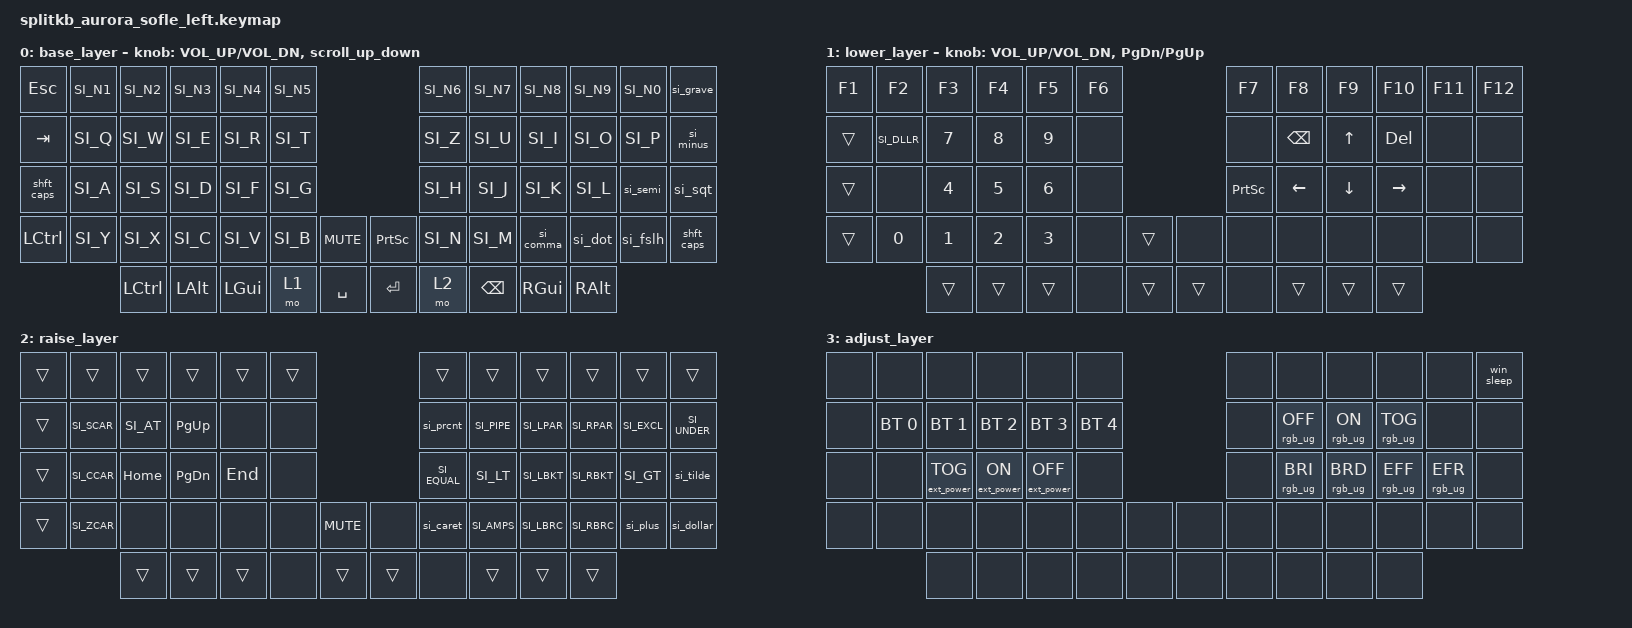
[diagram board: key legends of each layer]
/*
 * Copyright (c) 2023 The ZMK Contributors
 *
 * SPDX-License-Identifier: MIT
 */

#include <behaviors.dtsi>
#include <dt-bindings/zmk/bt.h>
#include <dt-bindings/zmk/ext_power.h>
#include <dt-bindings/zmk/keys.h>
#include <dt-bindings/zmk/keys.h>
#include <dt-bindings/zmk/rgb.h>

#include "helper.h"
#include "helpers.dtsi"
#include "behaviors_mod_morph.dtsi"
#include "keys_si.h"

// bodge wire P1.06 -> P0.08

&kscan {
    col-gpios
        = <&gpio0 8 GPIO_ACTIVE_HIGH>
        , <&pro_micro 8 GPIO_ACTIVE_HIGH>
        , <&pro_micro 7 GPIO_ACTIVE_HIGH>
        , <&pro_micro 6 GPIO_ACTIVE_HIGH>
        , <&pro_micro 5 GPIO_ACTIVE_HIGH>
        , <&pro_micro 4 GPIO_ACTIVE_HIGH>
        ;
};

// RGB

&led_strip {
    chain-length = <35>; // per-key + underglow LEDs
};

// Enable nice!view

&nice_view_spi {
    cs-gpios = <&gpio1 1 GPIO_ACTIVE_HIGH>; // account for using a bodge wire from P1.01 for CS on nice!view
};

// Encoders

&left_encoder {
    compatible = "alps,ec11";
    steps = <36>;
};

&right_encoder {
    compatible = "alps,ec11";
    steps = <36>;
};

&sensors {
    compatible = "zmk,keymap-sensors";
    sensors = <&left_encoder &right_encoder>;
    triggers-per-rotation = <36>;
};

// If needed, adjust the value of ZMK_MOUSE_DEFAULT_SCRL_VAL, must be done before including pointing.h
// ref: https://github.com/zmkfirmware/zmk/issues/72#issuecomment-2081690485
// and: https://github.com/zmkfirmware/zmk/pull/2027#issuecomment-2130938216
#define ZMK_MOUSE_DEFAULT_SCRL_VAL 50 // default is 10

// NOTE: Adding or removing mouse support requires updating the HID Descriptor.
// You will need to re-pair to your devices.
// https://zmk.dev/docs/features/bluetooth#refreshing-the-hid-descriptor
#include <dt-bindings/zmk/pointing.h>

/ {
    behaviors {
        // mouse scroll behavior
        // If needed, adjust the value of tap-ms
        // ref: https://github.com/zmkfirmware/zmk/pull/2477
        // ref: https://github.com/zmkfirmware/zmk/issues/72#issuecomment-2081690485
        // and: https://github.com/zmkfirmware/zmk/pull/2027#issuecomment-2130938216
        scroll_up_down: behavior_sensor_rotate_mouse_wheel_up_down {
            compatible = "zmk,behavior-sensor-rotate";
            #sensor-binding-cells = <0>;
            tap-ms = <50>;
            bindings = <&msc SCRL_UP>, <&msc SCRL_DOWN>;
        };
    };

    keymap {
        compatible = "zmk,keymap";

        base_layer {
            /*
            *   ,-----------------------------------------.                 ,-----------------------------------------.
            *   | ESC  |   1  |   2  |   3  |   4  |   5  |                 |  6   |  7   |  8   |  9   |  0   |  ` ~ |
            *   +------+------+------+------+------|------.                 .------+------+------+------+------+------.
            *   | TAB  |   Q  |   W  |   E  |   R  |   T  |                 |  Z   |  U   |  I   |  O   |  P   |  - _ |
            *   +------+------+------+------+------|------+                 .------+------+------+------+------+------.
            *   | SHIFT|   A  |   S  |   D  |   F  |   G  |                 |  H   |  J   |  K   |  L   |  ; : |  ' " |
            *   +------+------+------+------+------+------+------.   .------+------+------+------+------+------+------.
            *   | CTRL |   Y  |   X  |   C  |   V  |   B  | MUTE |   | PSCRN|  N   |  M   |  , < |  . > |  / ? | SHIFT|
            *   `------+------+------+------+------+------+------+   +------+------+------+------+------+------+------'
            *                 | CTRL | ALT  | GUI  | LOWER| SPACE|   | ENTER| RAISE| BSPC | GUI  | RALT |
            *                 `------+------+------+------+------'   '------+------+------+------+------'
            *
            *   Encoder Left:    VOL DOWN <-> VOL UP
            *   Encoder Right: SROLL DOWN <-> SROLL UP
            */

            bindings = <
&kp ESC     &kp SI_N1  &kp SI_N2  &kp SI_N3    &kp SI_N4    &kp SI_N5                           &kp SI_N6  &kp SI_N7    &kp SI_N8   &kp SI_N9   &kp SI_N0   &si_grave
&kp TAB     &kp SI_Q   &kp SI_W   &kp SI_E     &kp SI_R     &kp SI_T                            &kp SI_Z   &kp SI_U     &kp SI_I    &kp SI_O    &kp SI_P    &si_minus
&shft_caps  &kp SI_A   &kp SI_S   &kp SI_D     &kp SI_F     &kp SI_G                            &kp SI_H   &kp SI_J     &kp SI_K    &kp SI_L    &si_semi    &si_sqt
&kp LCTRL   &kp SI_Y   &kp SI_X   &kp SI_C     &kp SI_V     &kp SI_B   &kp C_MUTE    &kp PSCRN  &kp SI_N   &kp SI_M     &si_comma   &si_dot     &si_fslh    &shft_caps
                       &kp LCTRL  &kp LALT     &kp LGUI     &mo 1      &kp SPACE     &kp RET    &mo 2      &kp BSPC     &kp RGUI    &kp RALT
            >;

            sensor-bindings = 
                <&inc_dec_kp C_VOL_UP C_VOL_DN &scroll_up_down>;
        };

        lower_layer {
            /*
            *   ,-----------------------------------------.                 ,-----------------------------------------.
            *   |  F1  |  F2  |  F3  |  F4  |  F5  |  F6  |                 |  F7  |  F8  |  F9  | F10  | F11  | F12  |
            *   +------+------+------+------+------|------.                 .------+------+------+------+------+------.
            *   |      |   $  |   7  |   8  |   9  |      |                 |      | BSPC |  UP  | DEL  |      |      |
            *   +------+------+------+------+------|------+                 .------+------+------+------+------+------.
            *   |      |      |   4  |   5  |   6  |      |                 | PSCRN| LEFT | DOWN |RIGHT |      |      |
            *   +------+------+------+------+------+------+------.   .------+------+------+------+------+------+------.
            *   |      |   0  |   1  |   2  |   3  |      | MUTE |   |      |      |      |      |      |      |      |
            *   `------+------+------+------+------+------+------+   +------+------+------+------+------+------+------'
            *                 | CTRL | ALT  | GUI  |      | SPACE|   | ENTER|      | BSPC  | GUI | RALT |
            *                 `------+------+------+------+------'   '------+------+------+------+------'
            *
            *   Encoder Left:    VOL DOWN <-> VOL UP
            *   Encoder Right:   PAGE UP  <-> PAGE DOWN
            */

            bindings = <
&kp F1    &kp F2        &kp F3     &kp F4    &kp F5    &kp F6                    &kp F7     &kp F8          &kp F9          &kp F10          &kp F11  &kp F12
&trans    &kp SI_DLLR   &kp N7     &kp N8    &kp N9    &none                     &none      &kp BSPC        &kp UP_ARROW    &kp DEL          &none   &none
&trans    &none         &kp N4     &kp N5    &kp N6    &none                     &kp PSCRN  &kp LEFT_ARROW  &kp DOWN_ARROW  &kp RIGHT_ARROW  &none   &none
&trans    &kp N0        &kp N1     &kp N2    &kp N3    &none  &trans     &none   &none      &none           &none           &none            &none   &none
                        &trans     &trans    &trans    &none  &trans     &trans  &none      &trans          &trans          &trans
            >;

            sensor-bindings =
                <&inc_dec_kp C_VOL_UP C_VOL_DN>,
                <&inc_dec_kp PAGE_DOWN PAGE_UP>;
        };

        raise_layer {
            /*
            *   ,-----------------------------------------.                 ,-----------------------------------------.
            *   | ESC  |   1  |   2  |   3  |   4  |   5  |                 |  6   |  7   |  8   |  9   |  0   |  ` ~ |
            *   +------+------+------+------+------|------.                 .------+------+------+------+------+------.
            *   |      |   Š  |   @  | PGUP |      |      |                 |  * % |  |   |  (   |  )   |  !   |  _   |
            *   +------+------+------+------+------|------+                 .------+------+------+------+------+------.
            *   |      |   Č  | HOME | PGDN | END  |      |                 |  =   |  <   |  [   |  ]   |  >   |  ~ # |
            *   +------+------+------+------+------+------+------.   .------+------+------+------+------+------+------.
            *   |      |   Ž  |      |      |      |      |      |   |      |  ^ ` |  &   |  {   |  }   |  + - |  $ € |
            *   `------+------+------+------+------+------+------+   +------+------+------+------+------+------+------'
            *                 | CTRL | ALT  | GUI  |      | SPACE|   | ENTER|      | BSPC | GUI  | RALT |
            *                 `------+------+------+------+------'   '------+------+------+------+------'
            */

            bindings = <
&trans   &trans       &trans      &trans         &trans   &trans                        &trans        &trans       &trans       &trans       &trans       &trans
&trans   &kp SI_SCAR  &kp SI_AT   &kp PAGE_UP    &none    &none                         &si_prcnt     &kp SI_PIPE  &kp SI_LPAR  &kp SI_RPAR  &kp SI_EXCL  &kp SI_UNDER
&trans   &kp SI_CCAR  &kp HOME    &kp PAGE_DOWN  &kp END  &none                         &kp SI_EQUAL  &kp SI_LT    &kp SI_LBKT  &kp SI_RBKT  &kp SI_GT    &si_tilde
&trans   &kp SI_ZCAR  &none       &none          &none    &none   &kp C_MUTE    &none   &si_caret     &kp SI_AMPS  &kp SI_LBRC  &kp SI_RBRC  &si_plus     &si_dollar
                      &trans      &trans         &trans   &none   &trans        &trans  &none         &trans       &trans       &trans
            >;
        };

        adjust_layer {
            /*
            *   ,-----------------------------------------.                 ,-----------------------------------------.
            *   |      |      |      |      |      |      |                 |      |      |      |      |      | SLEEP|
            *   +------+------+------+------+------|------.                 .------+------+------+------+------+------.
            *   |      | BT0  | BT1  | BT2  | BT3  | BT4  |                 |      | OFF  | ON   | TOG  |      |      |
            *   +------+------+------+------+------|------+                 .------+------+------+------+------+------.
            *   |      |      | EXT1 | EXT2 | EXT3 |      |                 |      | BRI+ | BRI- | EFF+ | EFF- |      |
            *   +------+------+------+------+------+------+------.   .------+------+------+------+------+------+------.
            *   |      |      |      |      |      |      |      |   |      |      |      |      |      |      |      |
            *   `------+------+------+------+------+------+------+   +------+------+------+------+------+------+------'
            *                 |      |      |      |      |      |   |      |      |      |      |      |
            *                 `------+------+------+------+------'   '------+------+------+------+------'
            */

            bindings = <
&none  &none         &none              &none             &none              &none                         &none  &none           &none           &none           &none           &win_sleep
&none  &bt BT_SEL 0  &bt BT_SEL 1       &bt BT_SEL 2      &bt BT_SEL 3       &bt BT_SEL 4                  &none  &rgb_ug RGB_OFF &rgb_ug RGB_ON  &rgb_ug RGB_TOG &none           &none
&none  &none         &ext_power EP_TOG  &ext_power EP_ON  &ext_power EP_OFF  &none                         &none  &rgb_ug RGB_BRI &rgb_ug RGB_BRD &rgb_ug RGB_EFF &rgb_ug RGB_EFR &none
&none  &none         &none              &none             &none              &none        &none    &none   &none  &none           &none           &none           &none           &none
                     &none              &none             &none              &none        &none    &none   &none  &none           &none           &none
            >;
        };
    };
};
